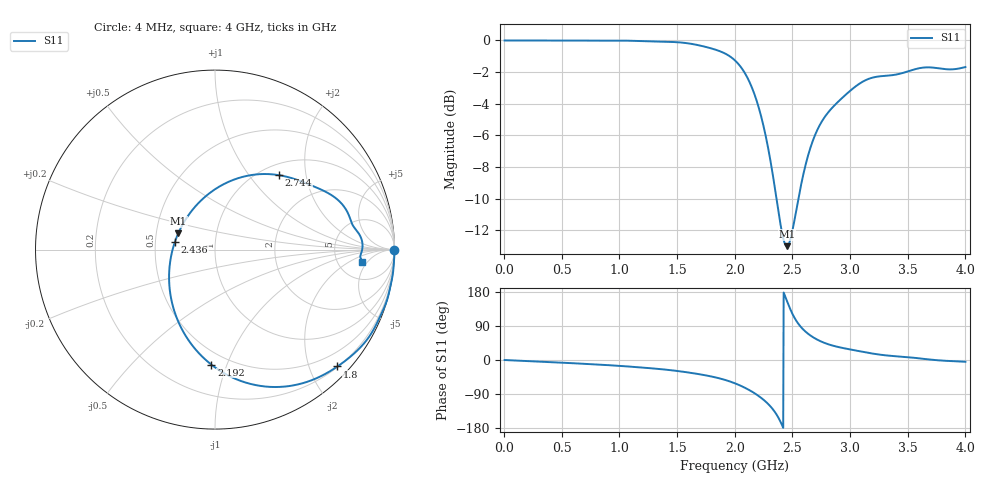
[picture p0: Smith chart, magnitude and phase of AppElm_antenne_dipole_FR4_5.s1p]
! TOUCHSTONE file generated by CST MICROWAVE STUDIO
! Date and time: Thu May 12 17:57:32 2022
! Project name: AppElm_antenne_dipole_FR4.cst
! Parameters = {L=38.8; e=0.035; f=2.45e+09; h=1.6; i=0.8; l1=4; lambda=122.449; ls=30; wl=1.7; ws=76}
! Header version: 2018
! Port assignment regex: !\s*Touchstone port\s*([0-9]+)\s*=\s*(CST MWS port|CST DS port)\s*([0-9]+|Zmin|Zmax)\s*\(\"(.*)\"\)(\s*mode\s*([0-9]+))?.*
! Touchstone port assignment:
! Touchstone port 1 = CST MWS port 1 ("")
# GHz S MA R 50
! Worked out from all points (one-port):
!   1000 points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, 4 MHz to 4 GHz, reference 50 ohm
!   lowest |S11| = -13.0 dB at 2.452 GHz (marker M1), VSWR 1.58, Z = 32.5 + j6.15 ohm
!   |S11| at or under -10 dB: 2.362 GHz to 2.552 GHz (189.7 MHz wide, 7.72 % of centre)
!   S11 on the Smith chart (normalised r, x): 4 MHz: open; 1.8 GHz: 0.21, -2.48; 2.192 GHz: 0.41, -0.88; 2.436 GHz: 0.63, +0.06; 2.744 GHz: 1.19, +1.41; 4 GHz: 8.79, -3.70
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0.004  0.9999 -0.1
0.504  1 -7.1
1.004  0.9989 -15.6
1.504  0.9871 -29.0
1.656  0.9708 -35.7
1.8  0.943 -43.7
1.908  0.9123 -51.8
2.004  0.8633 -61.8
2.104  0.7696 -75.8
2.192  0.6412 -91.8
2.26  0.5157 -107.7
2.32  0.3958 -126.2
2.376  0.2927 -150.9
2.436  0.2273 168.9
2.452  0.224 156.3
2.504  0.2549 119.3
2.56  0.328 92.1
2.616  0.4071 74.2
2.676  0.4812 60.6
2.744  0.5461 49.5
2.848  0.6146 38.1
3.004  0.6951 27.7
3.196  0.7633 17.0
3.324  0.7741 11.8
3.504  0.799 7.3
3.64  0.8213 3.0
3.764  0.817 -0.8
4  0.824 -4.7
